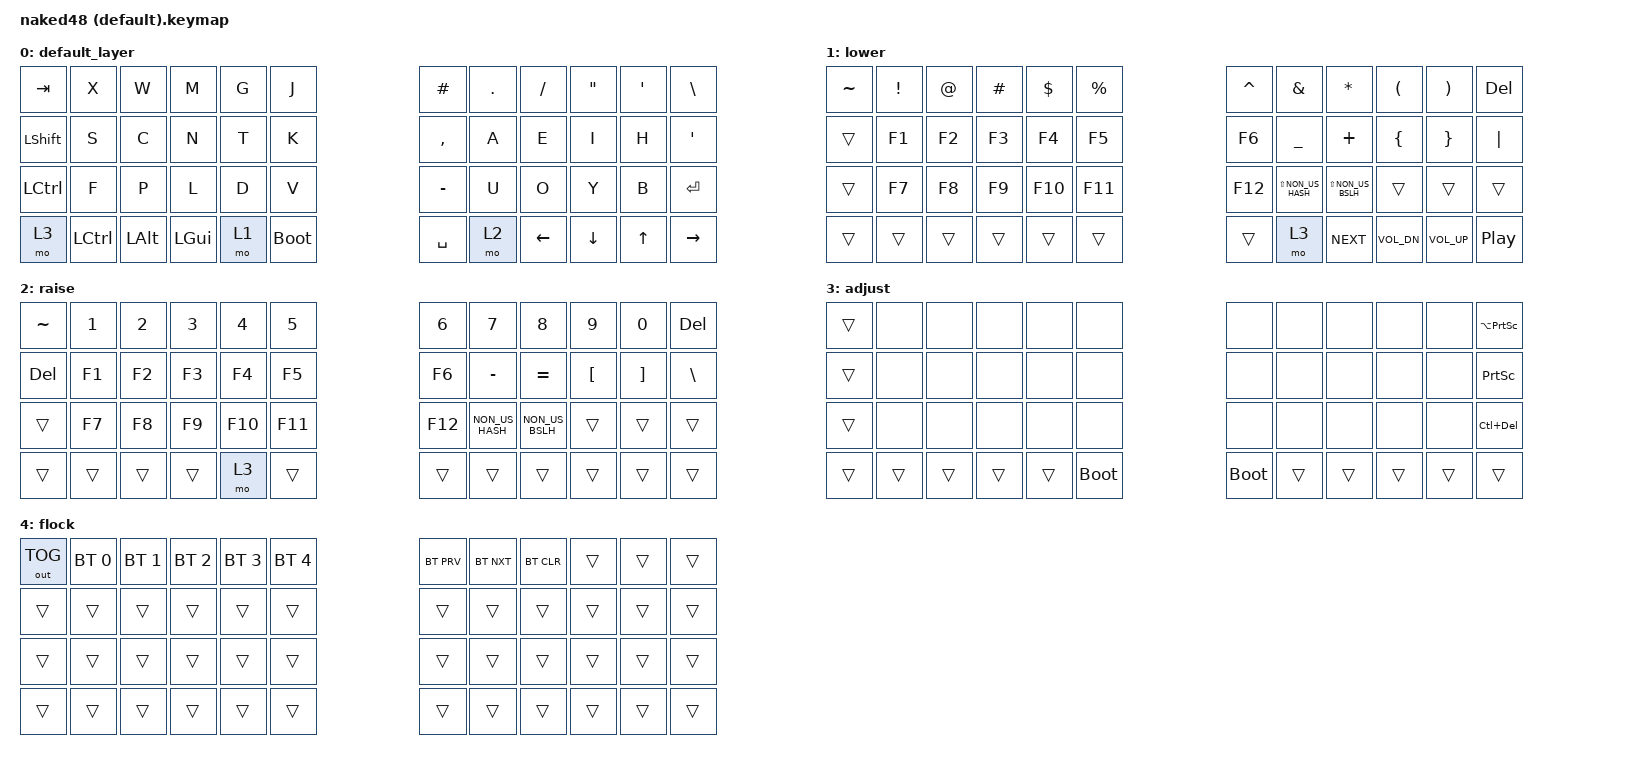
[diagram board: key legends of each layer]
/*
 * Copyright (c) 2020 The ZMK Contributors
 *
 * SPDX-License-Identifier: MIT
 */

#include <behaviors.dtsi>
#include <dt-bindings/zmk/keys.h>
#include <dt-bindings/zmk/bt.h>
#include <dt-bindings/zmk/outputs.h>


/ {
    keymap {
        compatible = "zmk,keymap";

        default_layer {
            // ----------------------------------------------------------------------------------------------------------------------
            // |  TAB  |   X   |   W   |   M   |   G   |   J   | ------- | ------- |   #   |   .    |   /   |   "   |   '   |   \   |
            // | SHIFT |   S   |   C   |   N   |   T   |   K   | ------- | ------- |   ,   |   A    |   E   |   I   |   H   |   '   |
            // | CTRL  |   F   |   P   |   L   |   D   |   V   | ------- | ------- |   -   |   U    |   O   |   Y   |   B   | ENTER |
            // |-------|ADJUST | LCTL  | LALT  | LGUI  | LOWR  | bootloader | SPACE| RAIS  |  LARW  |  DARW |  UARW | RARW  |-------|
            // ----------------------------------------------------------------------------------------------------------------------


            bindings = <
                &kp TAB    &kp X  &kp W     &kp M    &kp G    &kp J                     &kp HASH   &kp DOT  &kp FSLH  &kp DQT &kp SQT   &kp BSLH
                &kp LSHFT  &kp S  &kp C     &kp N    &kp T    &kp K                     &kp COMMA  &kp A    &kp E     &kp I   &kp H     &kp SQT
                &kp LCTRL  &kp F  &kp P     &kp L    &kp D    &kp V                     &kp MINUS  &kp U    &kp O     &kp Y   &kp B     &kp RET
                           &mo 3  &kp LCTRL &kp LALT &kp LGUI &mo 1 &bootloader &kp SPACE &mo 2  &kp LEFT &kp DOWN  &kp UP  &kp RIGHT
            >;
        };

        lower {
            // ----------------------------------------------------------------------------------------------------------
            // |   ~   |  !   |  @   |  #   |  $   |  %   |-------|-------|   ^   |   &   |  *   |  (   |   )   |  DEL  |
            // |       |  F1  |  F2  |  F3  |  F4  |  F5  |-------|-------|   F6  |   _   |  +   |  {   |   }   |   |   |
            // |       |  F7  |  F8  |  F9  |  F10 |  F11 |-------|-------|   F12 | LS(#) |LS(|) |      |       |       |
            // |-------|      |      |      |      |      |       |       |       | NEXT  | Vol- | Vol+ | PLAY  |-------|
            bindings = <
                &kp TILDE &kp EXCL &kp AT   &kp HASH &kp DLLR  &kp PRCNT               &kp CARET &kp AMPS            &kp ASTRK           &kp LPAR     &kp RPAR         &kp DEL
                &trans    &kp F1   &kp F2   &kp F3   &kp F4    &kp F5                  &kp F6    &kp UNDER           &kp PLUS            &kp LBRC     &kp RBRC         &kp PIPE
                &trans    &kp F7   &kp F8   &kp F9   &kp F10   &kp F11                 &kp F12   &kp LS(NON_US_HASH) &kp LS(NON_US_BSLH) &trans    &trans        &trans
                          &trans   &trans   &trans   &trans    &trans    &trans &trans &mo 3     &kp C_NEXT          &kp C_VOL_DN        &kp C_VOL_UP &kp C_PLAY_PAUSE 
            >;
        };

        raise {
            // ----------------------------------------------------------------------------------------------------------
            // |   ~   |  1   |  2   |  3   |  4   |  5   |-------|-------|  6    |   7   |  8   |  9   |   0   |  DEL  |
            // |  DEL  |  F1  |  F2  |  F3  |  F4  |  F5  |-------|-------|  F6   |   -   |  =   |  [   |   ]   |   \   |
            // |       |  F7  |  F8  |  F9  |  F10 |  F11 |-------|-------|  F12  |   #   |  |   |      |       |       |
            // |-------|      |      |      |      |      |       |       |       |       |      |      |       |-------|
            bindings = <
                &kp TILDE &kp N1   &kp N2   &kp N3   &kp N4    &kp N5                &kp N6    &kp N7          &kp N8          &kp N9       &kp N0           &kp DEL
                &kp DEL   &kp F1   &kp F2   &kp F3   &kp F4    &kp F5                &kp F6    &kp MINUS       &kp EQUAL       &kp LBKT     &kp RBKT         &kp BSLH
                &trans    &kp F7   &kp F8   &kp F9   &kp F10   &kp F11               &kp F12   &kp NON_US_HASH &kp NON_US_BSLH &trans       &trans           &trans
                          &trans   &trans   &trans   &trans    &mo 3   &trans &trans &trans    &trans          &trans          &trans       &trans
            >;
        };

        adjust {
            // ----------------------------------------------------------------------------------------------------------
            // |      |  NA  |  NA  |  NA  |  NA  |  NA  |------|------|  NA  |  NA  |  NA  |  NA  |  NA  |LALT(PRTSN)|
            // |      |  NA  |  NA  |  NA  |  NA  |  NA  |------|------|  NA  |  NA  |  NA  |  NA  |  NA  |   PRTSN   |
            // |      |  NA  |  NA  |  NA  |  NA  |  NA  |------|------|  NA  |  NA  |  NA  |  NA  |  NA  |LCTRL(DEL) |
            // |------|      |      |      |      |      |BOOTLD|BOOTLD|      |      |      |      |      |-----------|
            bindings = <
                &trans &none  &none  &none  &none  &none                          &none  &none  &none  &none   &none   &kp LA(PSCRN)
                &trans &none  &none  &none  &none  &none                          &none  &none  &none  &none   &none   &kp PSCRN
                &trans &none  &none  &none  &none  &none                          &none  &none  &none  &none   &none   &kp LC(DEL)
                       &trans &trans &trans &trans &trans &bootloader &bootloader &trans &trans &trans &trans  &trans
            >;
        };

        flock {
            // ----------------------------------------------------------------------------------------------------------
            // |out tog|BT_SEL 0|BT_SEL 1|BT_SEL 2|BT_SEL 3|BT_SEL 4|-------|-------|BT_PRV|BT_NXT|BT_CLR|     |     |      |
            // |       |        |        |        |        |        |-------|-------|      |      |      |     |     |      |
            // |       |        |        |        |        |        |-------|-------|      |      |      |     |     |      |
            // |-------|        |        |        |        |        |       |       |      |      |      |     |     |------|
            bindings = <
                &out OUT_TOG &bt BT_SEL 0 &bt BT_SEL 1 &bt BT_SEL 2 &bt BT_SEL 3 &bt BT_SEL 4               &bt BT_PRV &bt BT_NXT &bt BT_CLR &trans  &trans  &trans
                &trans       &trans       &trans       &trans       &trans       &trans                     &trans     &trans     &trans     &trans  &trans  &trans
                &trans       &trans       &trans       &trans       &trans       &trans                     &trans     &trans     &trans     &trans  &trans  &trans
                             &trans       &trans       &trans       &trans       &trans       &trans &trans &trans     &trans     &trans     &trans  &trans
            >;
        };
    };
};
